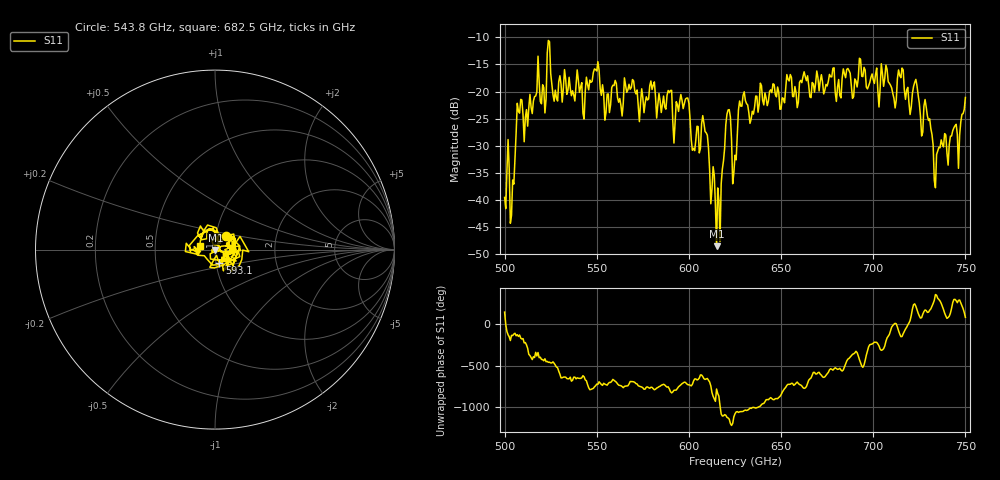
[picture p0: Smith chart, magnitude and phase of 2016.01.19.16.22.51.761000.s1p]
!Created with skrf (http://scikit-rf.org).
# GHz S RI R 50.0
!freq ReS11 ImS11
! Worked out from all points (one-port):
!   401 points, 500 GHz to 750 GHz, reference 50 ohm
!   lowest |S11| = -48.5 dB at 615 GHz (marker M1), VSWR 1.01, Z = 50.2 - j0.326 ohm
!   |S11| at or under -10 dB: start of sweep to end of sweep
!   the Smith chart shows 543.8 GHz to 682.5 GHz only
!   S11 on the Smith chart (normalised r, x): 543.8 GHz: 1.12, +0.18; 593.1 GHz: 1.04, -0.16; 682.5 GHz: 0.84, +0.03
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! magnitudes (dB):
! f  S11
! 500 GHz  -39.5
! 504.4 GHz  -36.3
! 508.1 GHz  -24.0
! 521.2 GHz  -19.3
! 524.4 GHz  -10.8
! 527.5 GHz  -19.7
! 531.2 GHz  -22.0
! 543.8 GHz  -19.9
! 550 GHz  -16.2
! 562.5 GHz  -21.3
! 580 GHz  -19.6
! 593.1 GHz  -21.9
! 593.8 GHz  -22.4
! 598.8 GHz  -21.2
! 602.5 GHz  -30.5
! 608.8 GHz  -27.4
! 615 GHz  -48.5
! 616.2 GHz  -40.1
! 621.2 GHz  -23.4
! 625 GHz  -31.7
! 628.8 GHz  -22.7
! 656.2 GHz  -20.9
! 682.5 GHz  -21.2
! 687.5 GHz  -16.6
! 718.8 GHz  -19.2
! 723.1 GHz  -17.8
! 734.4 GHz  -31.6
! 750 GHz  -21.1
